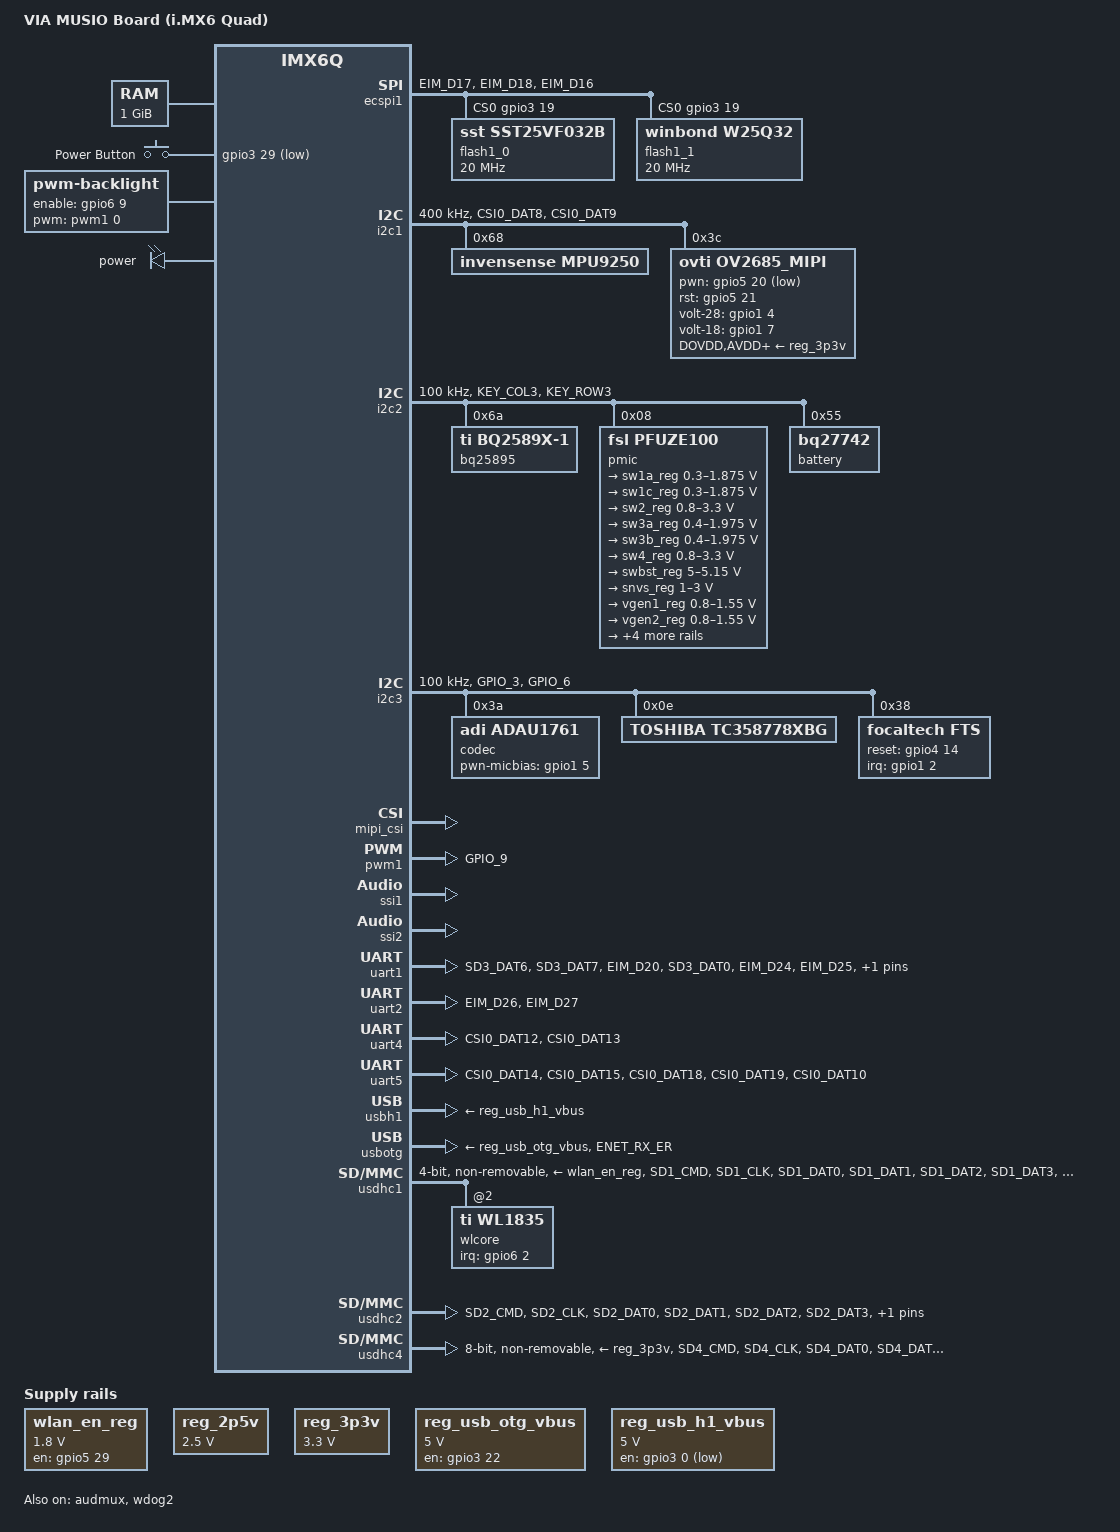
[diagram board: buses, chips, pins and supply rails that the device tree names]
/*
 * Copyright 2016 VIA Technologies, Inc.
 * Copyright 2012 Freescale Semiconductor, Inc.
 * Copyright 2011 Linaro Ltd.
 *
 * The code contained herein is licensed under the GNU General Public
 * License. You may obtain a copy of the GNU General Public License
 * Version 2 or later at the following locations:
 *
 * http://www.opensource.org/licenses/gpl-license.html
 * http://www.gnu.org/copyleft/gpl.html
 */

/dts-v1/;
#include "imx6q.dtsi"
#include <dt-bindings/input/input.h>

/ {
	model = "VIA MUSIO Board (i.MX6 Quad)";
	compatible = "via,imx6q-musio", "fsl,imx6q-sabrelite", "fsl,imx6q";

	aliases {
		mmc0 = &usdhc4;
		mmc1 = &usdhc2;
		mxcfb0 = &mxcfb1;
		mxcfb1 = &mxcfb2;
		mxcfb2 = &mxcfb3;
		mxcfb3 = &mxcfb4;
	};
	
	wlan_en_reg: fixedregulator@2 {
		compatible = "regulator-fixed";
		regulator-name = "wlan-en-regulator";
		regulator-min-microvolt = <1800000>;
		regulator-max-microvolt = <1800000>;

		/* WLAN_EN GPIO for this board-Bank5, pin29 */
		gpio = <&gpio5 29 GPIO_ACTIVE_HIGH>;

		/* WLAN card specific delay */
		startup-delay-us = <70000>;
		enable-active-high;
	};

	kim {
		compatible = "kim";
		nshutdown_gpio = <156>;  /* GPIO5_IO28: gpio is (5-1)*32+28=156 */
		dev_name = "/dev/ttymxc4";
		flow_cntrl = <1>;
		baud_rate = <3000000>;
	};

	btwilink {
		compatible = "btwilink";
	};	

	memory {
		reg = <0x10000000 0x40000000>;
	};

	hannstar_cabc {
		compatible = "hannstar,cabc";

		lvds0 {
			gpios = <&gpio6 15 GPIO_ACTIVE_HIGH>;
		};
	};

	regulators {
		compatible = "simple-bus";
		#address-cells = <1>;
		#size-cells = <0>;

		reg_2p5v: regulator@0 {
			compatible = "regulator-fixed";
			reg = <0>;
			regulator-name = "2P5V";
			regulator-min-microvolt = <2500000>;
			regulator-max-microvolt = <2500000>;
			regulator-always-on;
		};

		reg_3p3v: regulator@1 {
			compatible = "regulator-fixed";
			reg = <1>;
			regulator-name = "3P3V";
			regulator-min-microvolt = <3300000>;
			regulator-max-microvolt = <3300000>;
			regulator-always-on;
		};

		reg_usb_otg_vbus: regulator@2 {
			compatible = "regulator-fixed";
			reg = <2>;
			regulator-name = "usb_otg_vbus";
			regulator-min-microvolt = <5000000>;
			regulator-max-microvolt = <5000000>;
			gpio = <&gpio3 22 0>;
			enable-active-high;
		};

		reg_usb_h1_vbus: regulator@3 {
			compatible = "regulator-fixed";
			regulator-name = "usb_h1_vbus";
			regulator-min-microvolt = <5000000>;
			regulator-max-microvolt = <5000000>;
			gpio = <&gpio3 0 1>; /* VAB-820 - low enable*/

			/* SDB - high enable
			gpio = <&gpio1 29 0>;
			enable-active-high; */
		};
	};

	gpio-keys {
		compatible = "gpio-keys";
		pinctrl-names = "default";
		pinctrl-0 = <&pinctrl_gpio_keys>;

		power {
			label = "Power Button";
			gpios = <&gpio3 29 1>;
			gpio-key,wakeup;
			linux,code = <KEY_POWER>;
		};
	};

	sound {
		compatible = "fsl,imx6q-musio-adau1761",
			   "fsl,imx-audio-adau1761";
		model = "imx6q-musio-adau1761";
		cpu-dai-adau = <&ssi2>;
		cpu-dai-bt = <&ssi1>;
		audio-codec = <&codec>;
		/*codec-master;*/
		bt-master;
		audio-routing =
			"Headphone Jack", "HPOUTL",
			"Headphone Jack", "HPOUTR",
			"Ext Spk", "SPKOUTL",
			"Ext Spk", "SPKOUTR";
		mux-int-port-adau = <2>;
		mux-ext-port-adau = <5>;
		mux-int-port-bt = <1>;
		mux-ext-port-bt = <3>;
	};

	sound-hdmi {
		compatible = "fsl,imx6q-audio-hdmi",
			     "fsl,imx-audio-hdmi";
		model = "imx-audio-hdmi";
		hdmi-controller = <&hdmi_audio>;
	};

	mxcfb1: fb@0 {
		compatible = "fsl,mxc_sdc_fb";
		disp_dev = "lcd";
		interface_pix_fmt = "RGB24";
		mode_str = "LDB-XGA";
		default_bpp = <24>;
		int_clk = <0>;
		late_init = <0>;
		status = "disabled";
	};

	mxcfb2: fb@1 {
		compatible = "fsl,mxc_sdc_fb";
		disp_dev = "lcd";
		interface_pix_fmt = "RGB565";
		mode_str = "CLAA-WVGA";
		default_bpp = <16>;
		int_clk = <0>;
		late_init = <0>;
		status = "disabled";
	};

	mxcfb3: fb@2 {
		compatible = "fsl,mxc_sdc_fb";
		disp_dev = "lcd";
		interface_pix_fmt = "RGB666";
		mode_str = "LDB-SVGA";
		default_bpp = <16>;
		int_clk = <0>;
		late_init = <0>;
		status = "disabled";
	};

	mxcfb4: fb@3 {
		compatible = "fsl,mxc_sdc_fb";
		disp_dev = "lcd";
		interface_pix_fmt = "RGB666";
		mode_str = "LDB-VGA";
		default_bpp = <16>;
		int_clk = <0>;
		late_init = <0>;
		status = "disabled";
	};

	lcd@0 {
		compatible = "fsl,lcd";
		ipu_id = <0>;
		disp_id = <0>;
		default_ifmt = "RGB24";
		pinctrl-names = "default";
		pinctrl-0 = <&pinctrl_ipu1_1>;
		status = "okay";
	};

	pwm-backlight {
		compatible = "pwm-backlight";
		pwms = <&pwm1 0 5000000>;
		brightness-levels = <
			100 /* 99 98 97 96 95 94 93 92 91
			90 89 88 87 86 85 84 83 82 81 */
			80 79 78 77 76 75 74 73 72 71
			70 69 68 67 66 65 64 63 62 61
			60 59 58 57 56 55 54 53 52 51
			50 49 48 47 46 45 44 43 42 41
			40 39 38 37 36 35 34 33 32 31
			30 29 28 27 26 25 24 23 22 21
			20 19 18 17 16 15 14 13 12 11
			10 9 8 7 6 5 4 3 2 1
			0
			>;
		default-brightness-level = <90>;
		enable-gpios = <&gpio6 9 GPIO_ACTIVE_HIGH>;
	};

	v4l2_cap_0 {
		compatible = "fsl,imx6q-v4l2-capture";
		ipu_id = <1>;
		csi_id = <1>;
		mclk_source = <0>;
		status = "okay";
	};

	v4l2_out {
		compatible = "fsl,mxc_v4l2_output";
		status = "disabled";
	};

	leds {
		compatible = "gpio-leds";
		power {
			power-led-gpio = <&gpio4 5 0>;
		};
	};
};

&audmux {
	status = "okay";
	pinctrl-names = "default";
	pinctrl-0 = <&pinctrl_audmux>;
};

&ecspi1 {
	fsl,spi-num-chipselects = <1>;
	cs-gpios = <&gpio3 19 0>;
	pinctrl-names = "default";
	pinctrl-0 = <&pinctrl_ecspi1>;
	status = "okay";

	flash1_0: m25p80@0 {
		#address-cells = <1>;
		#size-cells = <1>;
		compatible = "sst,sst25vf032b"; /* VAB-820 */
		spi-max-frequency = <20000000>;
		reg = <0>;
	};

	flash1_1: m25p80@0 {
		#address-cells = <1>;
		#size-cells = <1>;
		compatible = "winbond,w25q32";
		spi-max-frequency = <20000000>;
		reg = <0>;
	};
};


&i2c1 {
	clock-frequency = <400000>;
	pinctrl-names = "default";
	pinctrl-0 = <&pinctrl_i2c1>;
	status = "okay";

	mpu9250@68 {
		compatible = "invensense,mpu9250";
		reg = <0x68>;
		pinctrl-names = "default";
		pinctrl-0 = <&pinctrl_mpu_9250>;
	};

	ov2685_mipi: ov2685_mipi@3c {
		compatible = "ovti,ov2685_mipi";
		reg = <0x3c>;
		clocks = <&clks 201>;
		clock-names = "csi_mclk";
		DOVDD-supply = <&reg_3p3v>; /* 3.3v enabled via 2.8 VGEN6 */
		AVDD-supply = <&reg_3p3v>;  /* 1.8v */
		DVDD-supply = <&reg_3p3v>;  /* 1.8v */
		pwn-gpios = <&gpio5 20 1>;   /* active low: CSI0_DATA_EN */
		rst-gpios = <&gpio5 21 0>;   /* active high: CSI0_VSYNC */

		volt-28-gpios = <&gpio1 4 0>;   /* active high: GPIO_4 */
		volt-18-gpios = <&gpio1 7 0>;   /* active high: GPIO_7 */


		csi_id = <1>;
		mclk = <24000000>;
		mclk_source = <0>;
	};
};

&i2c2 {
	clock-frequency = <100000>;
	pinctrl-names = "default";
	pinctrl-0 = <&pinctrl_i2c2>;
	status = "okay";

	bq25895@6A{
		compatible = "ti,bq2589x-1";
		reg = <0x6A>;
		ti,bq2589x,charge-voltage = <4336>;
		ti,bq2589x,charge-current = <2048>;
		ti,bq2589x,term-current = <192>;
		ti,bq2589x,enable-auto-dpdm;
		ti,bq2589x,enable-termination;
		/*ti,bq2589x,use-absolute-vindpm;*/
	};

	pmic: pfuze100@08 {
		compatible = "fsl,pfuze100";
		reg = <0x08>;

		regulators {
			sw1a_reg: sw1ab {
				regulator-min-microvolt = <300000>;
				regulator-max-microvolt = <1875000>;
				regulator-boot-on;
				regulator-always-on;
				regulator-ramp-delay = <6250>;
			};

			sw1c_reg: sw1c {
				regulator-min-microvolt = <300000>;
				regulator-max-microvolt = <1875000>;
				regulator-boot-on;
				regulator-always-on;
				regulator-ramp-delay = <6250>;
			};

			sw2_reg: sw2 {
				regulator-min-microvolt = <800000>;
				regulator-max-microvolt = <3300000>;
				regulator-boot-on;
				regulator-always-on;
				regulator-ramp-delay = <6250>;
			};

			sw3a_reg: sw3a {
				regulator-min-microvolt = <400000>;
				regulator-max-microvolt = <1975000>;
				regulator-boot-on;
				regulator-always-on;
			};

			sw3b_reg: sw3b {
				regulator-min-microvolt = <400000>;
				regulator-max-microvolt = <1975000>;
				regulator-boot-on;
				regulator-always-on;
			};

			sw4_reg: sw4 {
				regulator-min-microvolt = <800000>;
				regulator-max-microvolt = <3300000>;
			};

			swbst_reg: swbst {
				regulator-min-microvolt = <5000000>;
				regulator-max-microvolt = <5150000>;
			};

			snvs_reg: vsnvs {
				regulator-min-microvolt = <1000000>;
				regulator-max-microvolt = <3000000>;
				regulator-boot-on;
				regulator-always-on;
			};

			vref_reg: vrefddr {
				regulator-boot-on;
				regulator-always-on;
			};

			vgen1_reg: vgen1 {
				regulator-min-microvolt = <800000>;
				regulator-max-microvolt = <1550000>;
			};

			vgen2_reg: vgen2 {
				regulator-min-microvolt = <800000>;
				regulator-max-microvolt = <1550000>;
			};

			vgen3_reg: vgen3 {
				regulator-min-microvolt = <1800000>;
				regulator-max-microvolt = <3300000>;
			};

			vgen4_reg: vgen4 {
				regulator-min-microvolt = <1800000>;
				regulator-max-microvolt = <3300000>;
				regulator-always-on;
			};

			vgen5_reg: vgen5 {
				regulator-min-microvolt = <1800000>;
				regulator-max-microvolt = <3300000>;
				regulator-always-on;
			};

			vgen6_reg: vgen6 {
				regulator-min-microvolt = <1800000>;
				regulator-max-microvolt = <3300000>;
				regulator-always-on;
			};
		};
	 };
	battery: bq27742@55 {
		compatible = "bq27742";
		reg = <0x55>;
		battery-name = "battery";
	};

};

&i2c3 {
	clock-frequency = <100000>;
	pinctrl-names = "default";
	pinctrl-0 = <&pinctrl_i2c3>;
	status = "okay";

	codec: adau1761@3A {
		compatible = "adi,adau1761";
		reg = <0x3A>;
		clocks = <&clks IMX6QDL_CLK_CKO>;
		clock-names = "mclk";
		pwn-micbias = <&gpio1 5 0>;
	};

	tc358778xbg@0e {
		compatible = "TOSHIBA,TC358778XBG";
		mode_str ="1080x1920M@60";
		bits-per-pixel = <24>;
		reg = <0x0E>;
		status = "okay";
	};

	focaltech@38 {
		compatible = "focaltech,fts";
		reg = <0x38>;
		interrupt-parent = <&gpio1>;
		interrupts = <2 2>;
		focaltech,reset-gpio = <&gpio4 14 0x00>;
		focaltech,irq-gpio = <&gpio1 2 0x00>;
		focaltech,display-coords = <0 0 1080 1920>;
		focaltech,soft-reset-delay-ms = <150>;
		focaltech,hard-reset-delay-ms = <20>;
		/*
		focaltech,panel-coords = <0 0 1920 1080>;
		focaltech,no-force-update;
		focaltech,ignore-id-check;
		focaltech,hard-reset-delay-ms = <20>;
		focaltech,soft-reset-delay-ms = <150>;
		focaltech,num-max-touches = <2>;
		focaltech,group-id = <1>;
		focaltech,family-id = <0x54>;
		*/
	};

};

&mipi_csi {
	status = "okay";
	ipu_id = <1>;
	csi_id = <1>;
	v_channel = <3>;
	lanes = <2>;
};

&pcie {
	power-on-gpio = <&gpio1 19 0>;	/* VAB-820: SDB - <&gpio3 19 0>; */
	reset-gpio = <&gpio7 12 GPIO_ACTIVE_LOW>;
	wake-up-gpio = <&gpio5 20 GPIO_ACTIVE_LOW>;
	disable-gpio = <&gpio4 9 0>;
	status = "disabled";
};

&pwm1 {
	pinctrl-names = "default";
	pinctrl-0 = <&pinctrl_pwm1>;
	status = "okay";
};

&iomuxc {
	pinctrl-names = "default";
	pinctrl-0 = <&pinctrl_hog>;

	imx6q-sabrelite {
		pinctrl_hog: hoggrp {
			fsl,pins = <
				MX6QDL_PAD_GPIO_2__GPIO1_IO02		0x80000000	/* TOUCH_INT */
				MX6QDL_PAD_GPIO_4__GPIO1_IO04		0x80000000	/* SU_CAM_2V8_EN */
				MX6QDL_PAD_GPIO_5__GPIO1_IO05		0x1b0b0		/* SU_CAM_2V0_EN(MIC) */
				MX6QDL_PAD_GPIO_7__GPIO1_IO07		0x80000000	/* SU_CAM_1V8_EN */
				MX6QDL_PAD_NANDF_D0__GPIO2_IO00		0x80000000
				MX6QDL_PAD_NANDF_D1__GPIO2_IO01		0x80000000
				MX6QDL_PAD_NANDF_D2__GPIO2_IO02		0x80000000	/* SD2_CB_B */
				MX6QDL_PAD_NANDF_D3__GPIO2_IO03		0x80000000	/* SU_VIB1_EN */
				MX6QDL_PAD_NANDF_D4__GPIO2_IO04		0x80000000
				MX6QDL_PAD_NANDF_D5__GPIO2_IO05		0x80000000	/* SU_VIB2_EN */
				MX6QDL_PAD_NANDF_D6__GPIO2_IO06		0x80000000
				MX6QDL_PAD_EIM_OE__GPIO2_IO25		0x80000000	/* USB_UART_RESET */
				MX6QDL_PAD_EIM_D23__GPIO3_IO23		0x80000000	/* CHARGE_PWR_EN */
				MX6QDL_PAD_GPIO_19__GPIO4_IO05		0x80000000	/* GPO_MUTE (AUDIO) */
				MX6QDL_PAD_KEY_COL2__GPIO4_IO10		0x80000000	/* SIM_DETECT */
				MX6QDL_PAD_KEY_ROW2__GPIO4_IO11		0x80000000	/* CHARGE_INT */
				MX6QDL_PAD_KEY_COL4__GPIO4_IO14		0x80000000	/* TOUCH_RST */
				MX6QDL_PAD_KEY_ROW4__GPIO4_IO15		0x80000000	/* LCD_TE0 */
				MX6QDL_PAD_CSI0_DATA_EN__GPIO5_IO20	0x80000000	/* CAM_PD */
				MX6QDL_PAD_CSI0_VSYNC__GPIO5_IO21	0x80000000	/* CAM_RST */
				/*MX6QDL_PAD_CSI0_DAT10__GPIO5_IO28	0x80000000	*//* WL_BT_EN */
				/*MX6QDL_PAD_CSI0_DAT11__GPIO5_IO29	0x80000000	*//* WL_WLAN_EN */
				MX6QDL_PAD_CSI0_DAT16__GPIO6_IO02	0x80000000	/* WL_IRQ */
				MX6QDL_PAD_EIM_BCLK__GPIO6_IO31		0x80000000	/* CHARGE_EN */
				/*MX6QDL_PAD_SD3_CMD__GPIO7_IO02		0x80000000	*//* MPU9250_INT */
				MX6QDL_PAD_GPIO_16__GPIO7_IO11		0x80000000	/* 4G_-PRSET */
				MX6QDL_PAD_GPIO_17__GPIO7_IO12		0x80000000	/* 4G_-DISABLE */
				MX6QDL_PAD_GPIO_18__GPIO7_IO13		0x80000000	/* PMIC_INT */
				MX6QDL_PAD_GPIO_0__CCM_CLKO1	    0x000000b0  /* AUDIO_MCLK */
				MX6QDL_PAD_GPIO_1__WDOG2_B		    0x80000000	/* WATCH DOG*/
			>;
		};

		pinctrl_audmux: audmuxgrp {
			fsl,pins = <
				MX6QDL_PAD_KEY_COL0__AUD5_TXC	0x130b0
				MX6QDL_PAD_KEY_ROW0__AUD5_TXD	0x130b0
				MX6QDL_PAD_KEY_COL1__AUD5_TXFS	0x130b0
				MX6QDL_PAD_KEY_ROW1__AUD5_RXD	0x130b0
				MX6QDL_PAD_CSI0_DAT4__AUD3_TXC	0x130b0
				MX6QDL_PAD_CSI0_DAT5__AUD3_TXD	0x130b0
				MX6QDL_PAD_CSI0_DAT6__AUD3_TXFS	0x130b0
				MX6QDL_PAD_CSI0_DAT7__AUD3_RXD	0x130b0
			>;
		};

		pinctrl_audmux4: audmux4grp {
			fsl,pins = <
				MX6QDL_PAD_SD2_DAT0__AUD4_RXD		0x130b0
				MX6QDL_PAD_SD2_DAT3__AUD4_TXC		0x130b0
				MX6QDL_PAD_SD2_DAT2__AUD4_TXD		0x110b0
				MX6QDL_PAD_SD2_DAT1__AUD4_TXFS		0x130b0
			>;
		};

		pinctrl_ecspi1: ecspi1grp {
			fsl,pins = <
				MX6QDL_PAD_EIM_D17__ECSPI1_MISO		0x100b1
				MX6QDL_PAD_EIM_D18__ECSPI1_MOSI		0x100b1
				MX6QDL_PAD_EIM_D16__ECSPI1_SCLK		0x100b1
			>;
		};

		pinctrl_ecspi3: ecspi3grp {
			fsl,pins = <
				MX6QDL_PAD_DISP0_DAT2__ECSPI3_MISO	0x100b1
				MX6QDL_PAD_DISP0_DAT1__ECSPI3_MOSI	0x100b1
				MX6QDL_PAD_DISP0_DAT0__ECSPI3_SCLK	0x100b1
				MX6QDL_PAD_DISP0_DAT3__GPIO4_IO24	0x80000000
				MX6QDL_PAD_DISP0_DAT4__GPIO4_IO25	0x80000000
			>;
		};

		pinctrl_enet: enetgrp {
			fsl,pins = <
				MX6QDL_PAD_ENET_MDIO__ENET_MDIO		0x1b0b0
				MX6QDL_PAD_ENET_MDC__ENET_MDC		0x1b0b0
				MX6QDL_PAD_RGMII_TXC__RGMII_TXC		0x1b0b0
				MX6QDL_PAD_RGMII_TD0__RGMII_TD0		0x1b0b0
				MX6QDL_PAD_RGMII_TD1__RGMII_TD1		0x1b0b0
				MX6QDL_PAD_RGMII_TD2__RGMII_TD2		0x1b0b0
				MX6QDL_PAD_RGMII_TD3__RGMII_TD3		0x1b0b0
				MX6QDL_PAD_RGMII_TX_CTL__RGMII_TX_CTL	0x1b0b0
				MX6QDL_PAD_ENET_REF_CLK__ENET_TX_CLK	0x1b0b0
				MX6QDL_PAD_RGMII_RXC__RGMII_RXC		0x1b0b0
				MX6QDL_PAD_RGMII_RD0__RGMII_RD0		0x1b0b0
				MX6QDL_PAD_RGMII_RD1__RGMII_RD1		0x1b0b0
				MX6QDL_PAD_RGMII_RD2__RGMII_RD2		0x1b0b0
				MX6QDL_PAD_RGMII_RD3__RGMII_RD3		0x1b0b0
				MX6QDL_PAD_RGMII_RX_CTL__RGMII_RX_CTL	0x1b0b0
			>;
		};

		pinctrl_i2c1: i2c1grp {
			fsl,pins = <
				MX6QDL_PAD_CSI0_DAT8__I2C1_SDA		0x4001b8b1
				MX6QDL_PAD_CSI0_DAT9__I2C1_SCL		0x4001b8b1
			>;
		};

		pinctrl_i2c2: i2c2grp {
			fsl,pins = <
				MX6QDL_PAD_KEY_COL3__I2C2_SCL		0x4001b8b1
				MX6QDL_PAD_KEY_ROW3__I2C2_SDA		0x4001b8b1
			>;
		};

		pinctrl_i2c3: i2c3grp {
			fsl,pins = <
				MX6QDL_PAD_GPIO_3__I2C3_SCL		0x4001b8b1
				MX6QDL_PAD_GPIO_6__I2C3_SDA		0x4001b8b1
			>;
		};

		pinctrl_uart1: uart1grp {
			fsl,pins = <
				MX6QDL_PAD_SD3_DAT6__UART1_TX_DATA	0x80000000
				MX6QDL_PAD_SD3_DAT7__UART1_RX_DATA	0x80000000
				MX6QDL_PAD_EIM_D20__UART1_CTS_B		0x80000000
				MX6QDL_PAD_SD3_DAT0__UART1_RTS_B	0x130b0
				MX6QDL_PAD_EIM_D24__UART1_DTR_B		0x130b0
				MX6QDL_PAD_EIM_D25__UART1_DSR_B		0x80000000
				MX6QDL_PAD_EIM_D23__UART1_DCD_B		0x80000000
			>;
		};

		pinctrl_uart2: uart2grp {
			fsl,pins = <
				MX6QDL_PAD_EIM_D26__UART2_TX_DATA	0x1b0b1
				MX6QDL_PAD_EIM_D27__UART2_RX_DATA	0x1b0b1
			>;
		};
		
		pinctrl_uart5: uart5grp {
			fsl,pins = <
				MX6QDL_PAD_CSI0_DAT14__UART5_TX_DATA	0x1b0b1
				MX6QDL_PAD_CSI0_DAT15__UART5_RX_DATA	0x1b0b1
				MX6QDL_PAD_CSI0_DAT18__UART5_RTS_B  0x130b0
				MX6QDL_PAD_CSI0_DAT19__UART5_CTS_B	0x130b0
				MX6QDL_PAD_CSI0_DAT10__GPIO5_IO28	0x13059/* BT_ON */
			>;
		};		
#if 0		
		pinctrl_uart5dte_1: uart5dtegrp-1 {
			fsl,pins = <
				MX6QDL_PAD_CSI0_DAT14__UART5_RX_DATA	0x13059
				MX6QDL_PAD_CSI0_DAT15__UART5_TX_DATA	0x13059
				MX6QDL_PAD_CSI0_DAT18__UART5_CTS_B  0x13059
				MX6QDL_PAD_CSI0_DAT19__UART5_RTS_B	0x13059				
				MX6QDL_PAD_CSI0_DAT10__GPIO5_IO28	0x13059/* BT_ON */				
			>;
		};		
#endif		
		

		pinctrl_uart4: uart4grp {
			fsl,pins = <
				MX6QDL_PAD_CSI0_DAT12__UART4_TX_DATA	0x1b0b1
				MX6QDL_PAD_CSI0_DAT13__UART4_RX_DATA	0x1b0b1
			>;
		};

		pinctrl_usbotg: usbotggrp {
			fsl,pins = <
				MX6QDL_PAD_ENET_RX_ER__USB_OTG_ID	0x17059
			>;
		};
		
		pinctrl_usdhc1: usdhc1grp {
			fsl,pins = <
				MX6QDL_PAD_SD1_CMD__SD1_CMD		0x17069
				MX6QDL_PAD_SD1_CLK__SD1_CLK		0x10069
				MX6QDL_PAD_SD1_DAT0__SD1_DATA0		0x17069
				MX6QDL_PAD_SD1_DAT1__SD1_DATA1		0x17069
				MX6QDL_PAD_SD1_DAT2__SD1_DATA2		0x17069
				MX6QDL_PAD_SD1_DAT3__SD1_DATA3		0x17069
				MX6QDL_PAD_CSI0_DAT11__GPIO5_IO29	0x13069/* WL_REG_ON */
			>;
		};		

		pinctrl_usdhc2: usdhc2grp {
			fsl,pins = <
				MX6QDL_PAD_SD2_CMD__SD2_CMD		0x17059
				MX6QDL_PAD_SD2_CLK__SD2_CLK		0x10059
				MX6QDL_PAD_SD2_DAT0__SD2_DATA0		0x17059
				MX6QDL_PAD_SD2_DAT1__SD2_DATA1		0x17059
				MX6QDL_PAD_SD2_DAT2__SD2_DATA2		0x17059
				MX6QDL_PAD_SD2_DAT3__SD2_DATA3		0x17059
			>;
		};

/*
		pinctrl_usdhc3: usdhc3grp {
			fsl,pins = <
				MX6QDL_PAD_SD3_CMD__SD3_CMD		0x17059
				MX6QDL_PAD_SD3_CLK__SD3_CLK		0x10059
				MX6QDL_PAD_SD3_DAT0__SD3_DATA0		0x17059
				MX6QDL_PAD_SD3_DAT1__SD3_DATA1		0x17059
				MX6QDL_PAD_SD3_DAT2__SD3_DATA2		0x17059
				MX6QDL_PAD_SD3_DAT3__SD3_DATA3		0x17059
			>;
		};
*/

		pinctrl_usdhc4: usdhc4grp {
			fsl,pins = <
				MX6QDL_PAD_SD4_CMD__SD4_CMD		0x17059
				MX6QDL_PAD_SD4_CLK__SD4_CLK		0x10059
				MX6QDL_PAD_SD4_DAT0__SD4_DATA0		0x17059
				MX6QDL_PAD_SD4_DAT1__SD4_DATA1		0x17059
				MX6QDL_PAD_SD4_DAT2__SD4_DATA2		0x17059
				MX6QDL_PAD_SD4_DAT3__SD4_DATA3		0x17059
				MX6QDL_PAD_SD4_DAT4__SD4_DATA4		0x17059
				MX6QDL_PAD_SD4_DAT5__SD4_DATA5		0x17059
				MX6QDL_PAD_SD4_DAT6__SD4_DATA6		0x17059
				MX6QDL_PAD_SD4_DAT7__SD4_DATA7		0x17059
			>;
		};

		pinctrl_ipu1_1: ipu1grp-1 {
			fsl,pins = <
				MX6QDL_PAD_DI0_DISP_CLK__IPU1_DI0_DISP_CLK 0x10
				MX6QDL_PAD_DI0_PIN15__IPU1_DI0_PIN15       0x10
				MX6QDL_PAD_DI0_PIN2__IPU1_DI0_PIN02        0x10
				MX6QDL_PAD_DI0_PIN3__IPU1_DI0_PIN03        0x10
				MX6QDL_PAD_DI0_PIN4__IPU1_DI0_PIN04        0x80000000
				MX6QDL_PAD_DISP0_DAT0__IPU1_DISP0_DATA00   0x10
				MX6QDL_PAD_DISP0_DAT1__IPU1_DISP0_DATA01   0x10
				MX6QDL_PAD_DISP0_DAT2__IPU1_DISP0_DATA02   0x10
				MX6QDL_PAD_DISP0_DAT3__IPU1_DISP0_DATA03   0x10
				MX6QDL_PAD_DISP0_DAT4__IPU1_DISP0_DATA04   0x10
				MX6QDL_PAD_DISP0_DAT5__IPU1_DISP0_DATA05   0x10
				MX6QDL_PAD_DISP0_DAT6__IPU1_DISP0_DATA06   0x10
				MX6QDL_PAD_DISP0_DAT7__IPU1_DISP0_DATA07   0x10
				MX6QDL_PAD_DISP0_DAT8__IPU1_DISP0_DATA08   0x10
				MX6QDL_PAD_DISP0_DAT9__IPU1_DISP0_DATA09   0x10
				MX6QDL_PAD_DISP0_DAT10__IPU1_DISP0_DATA10  0x10
				MX6QDL_PAD_DISP0_DAT11__IPU1_DISP0_DATA11  0x10
				MX6QDL_PAD_DISP0_DAT12__IPU1_DISP0_DATA12  0x10
				MX6QDL_PAD_DISP0_DAT13__IPU1_DISP0_DATA13  0x10
				MX6QDL_PAD_DISP0_DAT14__IPU1_DISP0_DATA14  0x10
				MX6QDL_PAD_DISP0_DAT15__IPU1_DISP0_DATA15  0x10
				MX6QDL_PAD_DISP0_DAT16__IPU1_DISP0_DATA16  0x10
				MX6QDL_PAD_DISP0_DAT17__IPU1_DISP0_DATA17  0x10
				MX6QDL_PAD_DISP0_DAT18__IPU1_DISP0_DATA18  0x10
				MX6QDL_PAD_DISP0_DAT19__IPU1_DISP0_DATA19  0x10
				MX6QDL_PAD_DISP0_DAT20__IPU1_DISP0_DATA20  0x10
				MX6QDL_PAD_DISP0_DAT21__IPU1_DISP0_DATA21  0x10
				MX6QDL_PAD_DISP0_DAT22__IPU1_DISP0_DATA22  0x10
				MX6QDL_PAD_DISP0_DAT23__IPU1_DISP0_DATA23  0x10
			>;
		};

		pinctrl_ipu1_4: ipu1grp-4 {
			fsl,pins = <
				MX6QDL_PAD_CSI0_DAT12__IPU1_CSI0_DATA12		0x80000000
				MX6QDL_PAD_CSI0_DAT13__IPU1_CSI0_DATA13		0x80000000
				MX6QDL_PAD_CSI0_DAT14__IPU1_CSI0_DATA14		0x80000000
				MX6QDL_PAD_CSI0_DAT15__IPU1_CSI0_DATA15		0x80000000
				MX6QDL_PAD_CSI0_DAT16__IPU1_CSI0_DATA16		0x80000000
				MX6QDL_PAD_CSI0_DAT17__IPU1_CSI0_DATA17		0x80000000
				MX6QDL_PAD_CSI0_DAT18__IPU1_CSI0_DATA18		0x80000000
				MX6QDL_PAD_CSI0_DAT19__IPU1_CSI0_DATA19		0x80000000
				MX6QDL_PAD_CSI0_PIXCLK__IPU1_CSI0_PIXCLK	0x80000000
				MX6QDL_PAD_CSI0_MCLK__IPU1_CSI0_HSYNC		0x80000000
				MX6QDL_PAD_CSI0_VSYNC__IPU1_CSI0_VSYNC		0x80000000
			>;
		};

		pinctrl_pwm1: pwm1grp {
			fsl,pins = <
				MX6QDL_PAD_GPIO_9__PWM1_OUT		0x1b0b1
			>;
		};

		pinctrl_usbh1: usbh1grp {
			fsl,pins = <
				MX6QDL_PAD_EIM_D30__USB_H1_OC		0x80000000
			>;
		};
		pinctrl_gpio_keys: gpio_keysgrp {
			fsl,pins = <
				MX6QDL_PAD_EIM_D29__GPIO3_IO29 0x80000000
			>;
		};
		pinctrl_hdmi_cec: hdmicecgrp {
			fsl,pins = <
				MX6QDL_PAD_KEY_ROW2__HDMI_TX_CEC_LINE	0x1f8b0
			>;
		};

		pinctrl_mpu_9250: mpu9250grp {
			fsl,pins = <
				MX6QDL_PAD_SD3_CMD__GPIO7_IO02		0x80000000
			>;
		};
	};
};


&sata {
	status = "disabled";
};

&ssi1 {
	fsl,mode = "i2s-slave";
	status = "okay";
};

&ssi2 {
	fsl,mode = "i2s-master";
	fsl,ssi-asynchronous;
	status = "okay";
};

&uart1 {
	pinctrl-names = "default";
	pinctrl-0 = <&pinctrl_uart1>;
	status = "okay";
	fsl,uart-has-rtscts;
	fsl,dte-mode;
};

&uart2 {
	status = "okay";
	pinctrl-names = "default";
	pinctrl-0 = <&pinctrl_uart2>;
};

&uart4 {
	pinctrl-names = "default";
	pinctrl-0 = <&pinctrl_uart4>;
	status = "okay";
};


&uart5 {
	pinctrl-names = "default";
	pinctrl-0 = <&pinctrl_uart5>;
	status = "okay";
	/* enable rts/cts usage on uart5 */
	fsl,uart-has-rtscts;
};


&usbh1 {
	vbus-supply = <&reg_usb_h1_vbus>;
	pinctrl-1 = <&pinctrl_usbh1>;
	status = "okay";
};

&usbotg {
	vbus-supply = <&reg_usb_otg_vbus>;
	pinctrl-names = "default";
	pinctrl-0 = <&pinctrl_usbotg>;
	disable-over-current;
	srp-disable;
	hnp-disable;
	adp-disable;
	status = "okay";
};

&usdhc1 {
	pinctrl-names = "default";
	pinctrl-0 = <&pinctrl_usdhc1>;
	bus-width = <4>;	
	no-1-8-v;
	wifi-host;
	pm-ignore-notify;	
	keep-power-in-suspend;
	enable-sdio-wakeup;
	vmmc-supply = <&wlan_en_reg>;
	non-removable;    /* non-removable is not a variable, the fact it is */
	                  /* listed is all that is used by driver  */
	cap-power-off-card;		
	#address-cells = <1>;
	#size-cells = <0>;	
	status = "okay";
	wlcore: wlcore@0 {
		compatible = "ti,wl1835";
		reg = <2>;
		interrupt-parent = <&gpio6>;
		interrupts = <2 IRQ_TYPE_EDGE_RISING>;
		platform-quirks = <1>;
	};	
	
};

&usdhc2 {
	pinctrl-names = "default";
	pinctrl-0 = <&pinctrl_usdhc2>;
	cd-gpios = <&gpio2 2 0>;
	no-1-8-v;
	keep-power-in-suspend;
	enable-sdio-wakeup;
	status = "okay";
};

&usdhc4 {
	pinctrl-names = "default";
	pinctrl-0 = <&pinctrl_usdhc4>;
	bus-width = <8>;
	non-removable;
	no-1-8-v;
	keep-power-in-suspend;
	vmmc-supply = <&reg_3p3v>;
	status = "okay";
};

&hdmi_audio {
	status = "disabled";
};

&hdmi_cec {
	pinctrl-names = "default";
	pinctrl-0 = <&pinctrl_hdmi_cec>;
	status = "disabled";
};

&hdmi_core {
	ipu_id = <0>;
	disp_id = <0>;
	status = "disabled";
};

&hdmi_video {
	fsl,phy_reg_vlev = <0x0294>;
	fsl,phy_reg_cksymtx = <0x800d>;
	status = "disabled";
};

&dcic1 {
	dcic_id = <0>;
	dcic_mux = "dcic-hdmi";
	status = "disabled";
};

&dcic2 {
	dcic_id = <1>;
	dcic_mux = "dcic-lvds1";
	status = "disabled";
};

/* ------- override --------- */

&mxcfb1 {
	disp_dev = "lcd";
	mode_str = "HUAQIN-TXDT550";
	default_bpp = <32>;
	status = "okay";
};

&mxcfb2 {
	status = "disabled";
};

&mxcfb3 {
	status = "disaled";
};

&mxcfb4 {
	status = "disabled";
};

&ldb {
	status = "disabled";
};

&wdog1 {
	status = "disabled";
};

&wdog2 {
	status = "okay";
};

&cpu0 {
	arm-supply = <&sw2_reg>;
	soc-supply = <&sw1c_reg>;
};
